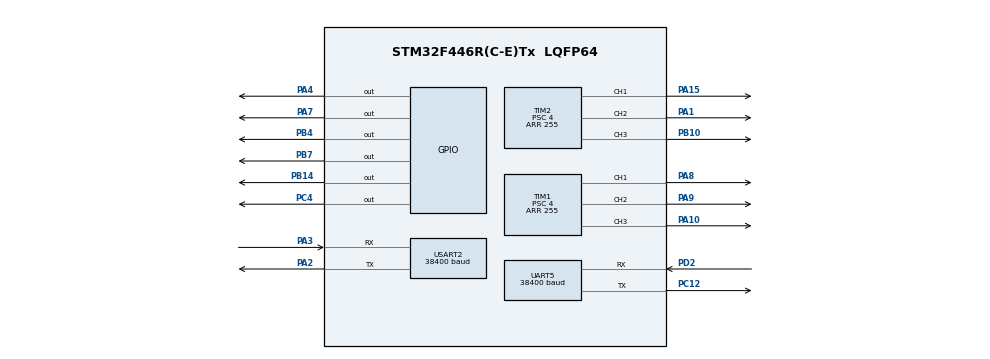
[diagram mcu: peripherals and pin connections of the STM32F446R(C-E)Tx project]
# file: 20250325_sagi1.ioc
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Mcu.Family=STM32F4
Mcu.Name=STM32F446R(C-E)Tx
Mcu.Package=LQFP64
NVIC.PriorityGroup=NVIC_PRIORITYGROUP_4
NVIC.UART5_IRQn=true\:0\:0\:false\:false\:true\:true\:true\:true
PA1.Signal=S_TIM2_CH2
PA10.Signal=S_TIM1_CH3
PA15.Signal=S_TIM2_CH1_ETR
PA2.Mode=Asynchronous
PA2.Signal=USART2_TX
PA3.Mode=Asynchronous
PA3.Signal=USART2_RX
PA4.Signal=GPIO_Output
PA7.Signal=GPIO_Output
PA8.Signal=S_TIM1_CH1
PA9.Signal=S_TIM1_CH2
PB10.Signal=S_TIM2_CH3
PB14.Signal=GPIO_Output
PB4.Signal=GPIO_Output
PB7.Signal=GPIO_Output
PC12.Mode=Asynchronous
PC12.Signal=UART5_TX
PC4.Signal=GPIO_Output
PD2.Mode=Asynchronous
PD2.Signal=UART5_RX
ProjectManager.HeapSize=0x200
ProjectManager.StackSize=0x400
ProjectManager.TargetToolchain=STM32CubeIDE
RCC.CortexFreq_Value=16000000
RCC.USBFreq_Value=96000000
RCC.VCOOutputFreq_Value=192000000
SH.S_TIM1_CH1.0=TIM1_CH1,PWM Generation1 CH1
SH.S_TIM1_CH2.0=TIM1_CH2,PWM Generation2 CH2
SH.S_TIM1_CH3.0=TIM1_CH3,PWM Generation3 CH3
SH.S_TIM2_CH1_ETR.0=TIM2_CH1,PWM Generation1 CH1
SH.S_TIM2_CH2.0=TIM2_CH2,PWM Generation2 CH2
SH.S_TIM2_CH3.0=TIM2_CH3,PWM Generation3 CH3
TIM1.Channel-PWM\ Generation1\ CH1=TIM_CHANNEL_1
TIM1.Channel-PWM\ Generation2\ CH2=TIM_CHANNEL_2
TIM1.Channel-PWM\ Generation3\ CH3=TIM_CHANNEL_3
TIM1.OC1Preload_PWM=DISABLE
TIM1.OC2Preload_PWM=DISABLE
TIM1.OC3Preload_PWM=DISABLE
TIM1.Period=255
TIM1.Prescaler=4
TIM2.Channel-PWM\ Generation1\ CH1=TIM_CHANNEL_1
TIM2.Channel-PWM\ Generation2\ CH2=TIM_CHANNEL_2
TIM2.Channel-PWM\ Generation3\ CH3=TIM_CHANNEL_3
TIM2.OC1Preload_PWM=DISABLE
TIM2.OC2Preload_PWM=DISABLE
TIM2.Period=255
TIM2.Prescaler=4
UART5.BaudRate=38400
UART5.VirtualMode=Asynchronous
USART2.BaudRate=38400
USART2.VirtualMode=VM_ASYNC
board=custom

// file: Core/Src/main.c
/* USER CODE BEGIN Header */
/**
  ******************************************************************************
  * @file           : main.c
  * @brief          : Main program body
  ******************************************************************************
  * @attention
  *
  * Copyright (c) 2025 STMicroelectronics.
  * All rights reserved.
  *
  * This software is licensed under terms that can be found in the LICENSE file
  * in the root directory of this software component.
  * If no LICENSE file comes with this software, it is provided AS-IS.
  *
  ******************************************************************************
  */
/* USER CODE END Header */
#include "main.h"

/* USER CODE BEGIN Includes */
#include <stdio.h>
#include "STprintf.h"
#include "USART_Arduino_PS4.h"
#include "manydef.h"
#include "mekanamu.h"
/* USER CODE END Includes */

/* USER CODE BEGIN PD */
#define VALUE 7

#define PRI
/* USER CODE END PD */

TIM_HandleTypeDef htim1;
TIM_HandleTypeDef htim2;

UART_HandleTypeDef huart5;
UART_HandleTypeDef huart2;

void SystemClock_Config(void);
static void MX_GPIO_Init(void);
static void MX_USART2_UART_Init(void);
static void MX_TIM1_Init(void);
static void MX_TIM2_Init(void);
static void MX_UART5_Init(void);

int main(void)
{

  /* MCU Configuration--------------------------------------------------------*/

  /* Reset of all peripherals, Initializes the Flash interface and the Systick. */
  HAL_Init();

  /* Configure the system clock */
  SystemClock_Config();

  /* Initialize all configured peripherals */
  MX_GPIO_Init();
  MX_USART2_UART_Init();
  MX_TIM1_Init();
  MX_TIM2_Init();
  MX_UART5_Init();
  /* USER CODE BEGIN 2 */
  STprintf(&huart2);
  uint8_t Out[8] = {0};
  /* USER CODE END 2 */

  /* Infinite loop */
  /* USER CODE BEGIN WHILE */
  while (1)
  {
	  HAL_TIM_PWM_Start(&htim1, TIMCH_1);
	  HAL_TIM_PWM_Start(&htim1, TIMCH_2);
	  HAL_TIM_PWM_Start(&htim2, TIMCH_2);
	  HAL_TIM_PWM_Start(&htim2, TIMCH_1);
	  HAL_TIM_PWM_Start(&htim1, TIMCH_3);
	  HAL_TIM_PWM_Start(&htim2, TIMCH_3);
    /* USER CODE END WHILE */

    /* USER CODE BEGIN 3 */
	  getDataIT(&huart5);
//	  if(FAF == 1){
//		  AllShowP(data);
//	  }
//	  printf("%d ",FAF);
//	  printf("LX:%+4d LY:%+4d RX:%+4d RY:%+4d \r\n",halfX(data.LX),halfY(data.LY),halfX(data.RX),halfY(data.RY));
//	  HAL_Delay(250);
//	  MoveST(Out,data.LX,data.LY,data.RY);
	  MoveBT(Out,data.LX,data.LY,data.R1,data.L1);
	  HAL_GPIO_WritePin(GPIOB, GPIO_Pin_14, Out[LUD]);
	  HAL_GPIO_WritePin(GPIOA, GPIO_Pin_7,	Out[RUD]);
	  HAL_GPIO_WritePin(GPIOA, GPIO_Pin_4, 	Out[LDD]);
	  HAL_GPIO_WritePin(GPIOB, GPIO_Pin_7, 	Out[RDD]);

	  __HAL_TIM_SET_COMPARE(&htim1,TIMCH_1,0xff - Out[LUP]);
	  __HAL_TIM_SET_COMPARE(&htim1,TIMCH_2,0xff - Out[RUP]);
	  __HAL_TIM_SET_COMPARE(&htim2,TIMCH_2,0xff - Out[LDP]);
	  __HAL_TIM_SET_COMPARE(&htim2,TIMCH_1,0xff - Out[RDP]);

//	  AllShow(data);
#ifdef PRI
	  printf("左上 %d %2X 右上 %d %2X 左下 %d %2X 右下 %d %2X\r\n",Out[LUD],Out[LUP],Out[RUD],Out[RUP],Out[LDD],Out[LDP],Out[RDD],Out[RDP]);
#endif
#define P 50
#define O 50

	  if(data.UP == 1){

//		  HAL_GPIO_WritePin(GPIOB, GPIO_Pin_4, 0);
//		  __HAL_TIM_SET_COMPARE(&htim2,TIMCH_3,255 - O);
		  HAL_GPIO_WritePin(GPIOC, GPIO_Pin_4, 1);
		  __HAL_TIM_SET_COMPARE(&htim1,TIMCH_3,P);
	  }else if(data.DOWN == 1){

//		  HAL_GPIO_WritePin(GPIOB, GPIO_Pin_4, 1);
//		  __HAL_TIM_SET_COMPARE(&htim2,TIMCH_3,O);
		  HAL_GPIO_WritePin(GPIOC, GPIO_Pin_4, 0);
		  __HAL_TIM_SET_COMPARE(&htim1,TIMCH_3,255 - P);
	  }else {

//		  HAL_GPIO_WritePin(GPIOB, GPIO_Pin_4, 1);
//		  __HAL_TIM_SET_COMPARE(&htim2,TIMCH_3,0);
		  HAL_GPIO_WritePin(GPIOC, GPIO_Pin_4, 1);
		  __HAL_TIM_SET_COMPARE(&htim1,TIMCH_3,0);
	  }

	  if(data.CIRCLE == 1){
		  HAL_GPIO_WritePin(GPIOB, GPIO_Pin_4, 0);
		  __HAL_TIM_SET_COMPARE(&htim2,TIMCH_3,255 - O);
	  }else if(data.SQUARE == 1){
		  HAL_GPIO_WritePin(GPIOB, GPIO_Pin_4, 1);
		  __HAL_TIM_SET_COMPARE(&htim2,TIMCH_3,O);
	  }else {
		  HAL_GPIO_WritePin(GPIOB, GPIO_Pin_4, 1);
		  __HAL_TIM_SET_COMPARE(&htim2,TIMCH_3,0);
	  }
  }
  /* USER CODE END 3 */
}

void SystemClock_Config(void)
{
  RCC_OscInitTypeDef RCC_OscInitStruct = {0};
  RCC_ClkInitTypeDef RCC_ClkInitStruct = {0};

  /** Configure the main internal regulator output voltage
  */
  __HAL_RCC_PWR_CLK_ENABLE();
  __HAL_PWR_VOLTAGESCALING_CONFIG(PWR_REGULATOR_VOLTAGE_SCALE3);

  /** Initializes the RCC Oscillators according to the specified parameters
  * in the RCC_OscInitTypeDef structure.
  */
  RCC_OscInitStruct.OscillatorType = RCC_OSCILLATORTYPE_HSI;
  RCC_OscInitStruct.HSIState = RCC_HSI_ON;
  RCC_OscInitStruct.HSICalibrationValue = RCC_HSICALIBRATION_DEFAULT;
  RCC_OscInitStruct.PLL.PLLState = RCC_PLL_NONE;
  if (HAL_RCC_OscConfig(&RCC_OscInitStruct) != HAL_OK)
  {
    Error_Handler();
  }

  /** Initializes the CPU, AHB and APB buses clocks
  */
  RCC_ClkInitStruct.ClockType = RCC_CLOCKTYPE_HCLK|RCC_CLOCKTYPE_SYSCLK
                              |RCC_CLOCKTYPE_PCLK1|RCC_CLOCKTYPE_PCLK2;
  RCC_ClkInitStruct.SYSCLKSource = RCC_SYSCLKSOURCE_HSI;
  RCC_ClkInitStruct.AHBCLKDivider = RCC_SYSCLK_DIV1;
  RCC_ClkInitStruct.APB1CLKDivider = RCC_HCLK_DIV1;
  RCC_ClkInitStruct.APB2CLKDivider = RCC_HCLK_DIV1;

  if (HAL_RCC_ClockConfig(&RCC_ClkInitStruct, FLASH_LATENCY_0) != HAL_OK)
  {
    Error_Handler();
  }
}

static void MX_TIM1_Init(void)
{

  TIM_MasterConfigTypeDef sMasterConfig = {0};
  TIM_OC_InitTypeDef sConfigOC = {0};
  TIM_BreakDeadTimeConfigTypeDef sBreakDeadTimeConfig = {0};

  htim1.Instance = TIM1;
  htim1.Init.Prescaler = 4;
  htim1.Init.CounterMode = TIM_COUNTERMODE_UP;
  htim1.Init.Period = 255;
  htim1.Init.ClockDivision = TIM_CLOCKDIVISION_DIV1;
  htim1.Init.RepetitionCounter = 0;
  htim1.Init.AutoReloadPreload = TIM_AUTORELOAD_PRELOAD_DISABLE;
  if (HAL_TIM_PWM_Init(&htim1) != HAL_OK)
  {
    Error_Handler();
  }
  sMasterConfig.MasterOutputTrigger = TIM_TRGO_RESET;
  sMasterConfig.MasterSlaveMode = TIM_MASTERSLAVEMODE_DISABLE;
  if (HAL_TIMEx_MasterConfigSynchronization(&htim1, &sMasterConfig) != HAL_OK)
  {
    Error_Handler();
  }
  sConfigOC.OCMode = TIM_OCMODE_PWM1;
  sConfigOC.Pulse = 0;
  sConfigOC.OCPolarity = TIM_OCPOLARITY_HIGH;
  sConfigOC.OCNPolarity = TIM_OCNPOLARITY_HIGH;
  sConfigOC.OCFastMode = TIM_OCFAST_DISABLE;
  sConfigOC.OCIdleState = TIM_OCIDLESTATE_RESET;
  sConfigOC.OCNIdleState = TIM_OCNIDLESTATE_RESET;
  if (HAL_TIM_PWM_ConfigChannel(&htim1, &sConfigOC, TIM_CHANNEL_1) != HAL_OK)
  {
    Error_Handler();
  }
  __HAL_TIM_DISABLE_OCxPRELOAD(&htim1, TIM_CHANNEL_1);
  if (HAL_TIM_PWM_ConfigChannel(&htim1, &sConfigOC, TIM_CHANNEL_2) != HAL_OK)
  {
    Error_Handler();
  }
  __HAL_TIM_DISABLE_OCxPRELOAD(&htim1, TIM_CHANNEL_2);
  if (HAL_TIM_PWM_ConfigChannel(&htim1, &sConfigOC, TIM_CHANNEL_3) != HAL_OK)
  {
    Error_Handler();
  }
  __HAL_TIM_DISABLE_OCxPRELOAD(&htim1, TIM_CHANNEL_3);
  sBreakDeadTimeConfig.OffStateRunMode = TIM_OSSR_DISABLE;
  sBreakDeadTimeConfig.OffStateIDLEMode = TIM_OSSI_DISABLE;
  sBreakDeadTimeConfig.LockLevel = TIM_LOCKLEVEL_OFF;
  sBreakDeadTimeConfig.DeadTime = 0;
  sBreakDeadTimeConfig.BreakState = TIM_BREAK_DISABLE;
  sBreakDeadTimeConfig.BreakPolarity = TIM_BREAKPOLARITY_HIGH;
  sBreakDeadTimeConfig.AutomaticOutput = TIM_AUTOMATICOUTPUT_DISABLE;
  if (HAL_TIMEx_ConfigBreakDeadTime(&htim1, &sBreakDeadTimeConfig) != HAL_OK)
  {
    Error_Handler();
  }
  HAL_TIM_MspPostInit(&htim1);

}

static void MX_TIM2_Init(void)
{

  TIM_MasterConfigTypeDef sMasterConfig = {0};
  TIM_OC_InitTypeDef sConfigOC = {0};

  htim2.Instance = TIM2;
  htim2.Init.Prescaler = 4;
  htim2.Init.CounterMode = TIM_COUNTERMODE_UP;
  htim2.Init.Period = 255;
  htim2.Init.ClockDivision = TIM_CLOCKDIVISION_DIV1;
  htim2.Init.AutoReloadPreload = TIM_AUTORELOAD_PRELOAD_DISABLE;
  if (HAL_TIM_PWM_Init(&htim2) != HAL_OK)
  {
    Error_Handler();
  }
  sMasterConfig.MasterOutputTrigger = TIM_TRGO_RESET;
  sMasterConfig.MasterSlaveMode = TIM_MASTERSLAVEMODE_DISABLE;
  if (HAL_TIMEx_MasterConfigSynchronization(&htim2, &sMasterConfig) != HAL_OK)
  {
    Error_Handler();
  }
  sConfigOC.OCMode = TIM_OCMODE_PWM1;
  sConfigOC.Pulse = 0;
  sConfigOC.OCPolarity = TIM_OCPOLARITY_HIGH;
  sConfigOC.OCFastMode = TIM_OCFAST_DISABLE;
  if (HAL_TIM_PWM_ConfigChannel(&htim2, &sConfigOC, TIM_CHANNEL_1) != HAL_OK)
  {
    Error_Handler();
  }
  __HAL_TIM_DISABLE_OCxPRELOAD(&htim2, TIM_CHANNEL_1);
  if (HAL_TIM_PWM_ConfigChannel(&htim2, &sConfigOC, TIM_CHANNEL_2) != HAL_OK)
  {
    Error_Handler();
  }
  __HAL_TIM_DISABLE_OCxPRELOAD(&htim2, TIM_CHANNEL_2);
  if (HAL_TIM_PWM_ConfigChannel(&htim2, &sConfigOC, TIM_CHANNEL_3) != HAL_OK)
  {
    Error_Handler();
  }
  HAL_TIM_MspPostInit(&htim2);

}

static void MX_UART5_Init(void)
{

  huart5.Instance = UART5;
  huart5.Init.BaudRate = 38400;
  huart5.Init.WordLength = UART_WORDLENGTH_8B;
  huart5.Init.StopBits = UART_STOPBITS_1;
  huart5.Init.Parity = UART_PARITY_NONE;
  huart5.Init.Mode = UART_MODE_TX_RX;
  huart5.Init.HwFlowCtl = UART_HWCONTROL_NONE;
  huart5.Init.OverSampling = UART_OVERSAMPLING_16;
  if (HAL_UART_Init(&huart5) != HAL_OK)
  {
    Error_Handler();
  }

}

static void MX_USART2_UART_Init(void)
{

  huart2.Instance = USART2;
  huart2.Init.BaudRate = 38400;
  huart2.Init.WordLength = UART_WORDLENGTH_8B;
  huart2.Init.StopBits = UART_STOPBITS_1;
  huart2.Init.Parity = UART_PARITY_NONE;
  huart2.Init.Mode = UART_MODE_TX_RX;
  huart2.Init.HwFlowCtl = UART_HWCONTROL_NONE;
  huart2.Init.OverSampling = UART_OVERSAMPLING_16;
  if (HAL_UART_Init(&huart2) != HAL_OK)
  {
    Error_Handler();
  }

}

static void MX_GPIO_Init(void)
{
  GPIO_InitTypeDef GPIO_InitStruct = {0};

  /* GPIO Ports Clock Enable */
  __HAL_RCC_GPIOA_CLK_ENABLE();
  __HAL_RCC_GPIOC_CLK_ENABLE();
  __HAL_RCC_GPIOB_CLK_ENABLE();
  __HAL_RCC_GPIOD_CLK_ENABLE();

  /*Configure GPIO pin Output Level */
  HAL_GPIO_WritePin(GPIOA, GPIO_PIN_4|GPIO_PIN_7, GPIO_PIN_RESET);

  /*Configure GPIO pin Output Level */
  HAL_GPIO_WritePin(GPIOC, GPIO_PIN_4, GPIO_PIN_RESET);

  /*Configure GPIO pin Output Level */
  HAL_GPIO_WritePin(GPIOB, GPIO_PIN_14|GPIO_PIN_4|GPIO_PIN_7, GPIO_PIN_RESET);

  /*Configure GPIO pins : PA4 PA7 */
  GPIO_InitStruct.Pin = GPIO_PIN_4|GPIO_PIN_7;
  GPIO_InitStruct.Mode = GPIO_MODE_OUTPUT_PP;
  GPIO_InitStruct.Pull = GPIO_NOPULL;
  GPIO_InitStruct.Speed = GPIO_SPEED_FREQ_LOW;
  HAL_GPIO_Init(GPIOA, &GPIO_InitStruct);

  /*Configure GPIO pin : PC4 */
  GPIO_InitStruct.Pin = GPIO_PIN_4;
  GPIO_InitStruct.Mode = GPIO_MODE_OUTPUT_PP;
  GPIO_InitStruct.Pull = GPIO_NOPULL;
  GPIO_InitStruct.Speed = GPIO_SPEED_FREQ_LOW;
  HAL_GPIO_Init(GPIOC, &GPIO_InitStruct);

  /*Configure GPIO pins : PB14 PB4 PB7 */
  GPIO_InitStruct.Pin = GPIO_PIN_14|GPIO_PIN_4|GPIO_PIN_7;
  GPIO_InitStruct.Mode = GPIO_MODE_OUTPUT_PP;
  GPIO_InitStruct.Pull = GPIO_NOPULL;
  GPIO_InitStruct.Speed = GPIO_SPEED_FREQ_LOW;
  HAL_GPIO_Init(GPIOB, &GPIO_InitStruct);

}

void Error_Handler(void)
{
  __disable_irq();
  while (1)
  {
  }
}
